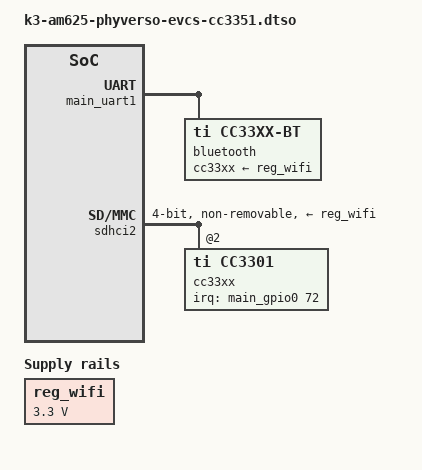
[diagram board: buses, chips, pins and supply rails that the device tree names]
// SPDX-License-Identifier: GPL-2.0-only OR MIT
/*
 * Copyright (C) 2026 PHYTEC Messtechnik GmbH
 * Author: Alexander Bauer <a.bauer@phytec.de>
 */

#include <dt-bindings/gpio/gpio.h>
#include <dt-bindings/interrupt-controller/irq.h>
#include "k3-pinctrl.h"

/dts-v1/;
/plugin/;

/ {
	aliases {
		serial3 = "/bus@f0000/serial@2810000";
	};

	reg_wifi: regulator-wifi {
		compatible = "regulator-fixed";
		regulator-name = "WIFI_EN";
		regulator-min-microvolt = <3300000>;
		regulator-max-microvolt = <3300000>;
		regulator-always-on;
		regulator-boot-on;
	};
};

&main_pmx0 {
	main_mmc2_wifi_pins_default: main-mmc2-wifi-default-pins {
		pinctrl-single,pins = <
			AM62X_IOPAD(0x0120, PIN_INPUT, 0) /* (C24) MMC2_CMD */
			AM62X_IOPAD(0x0118, PIN_OUTPUT, 0) /* (D25) MMC2_CLK */
			AM62X_IOPAD(0x011C, PIN_INPUT, 0) /* () MMC2_CLKLB */
			AM62X_IOPAD(0x0114, PIN_INPUT, 0) /* (B24) MMC2_DAT0 */
			AM62X_IOPAD(0x0110, PIN_INPUT_PULLUP, 0) /* (C25) MMC2_DAT1 */
			AM62X_IOPAD(0x010c, PIN_INPUT_PULLUP, 0) /* (E23) MMC2_DAT2 */
			AM62X_IOPAD(0x0108, PIN_INPUT_PULLUP, 0) /* (D24) MMC2_DAT3 */
		>;
	};

	main_uart1_pins_default: main-uart1-default-pins {
		pinctrl-single,pins = <
			AM62X_IOPAD(0x194, PIN_INPUT, 2) /* (B19) MCASP0_AXR3.UART1_CTSn */
			AM62X_IOPAD(0x198, PIN_OUTPUT, 2) /* (A19) MCASP0_AXR2.UART1_RTSn */
			AM62X_IOPAD(0x1ac, PIN_INPUT, 2) /* (E19) MCASP0_AFSR.UART1_RXD */
			AM62X_IOPAD(0x1b0, PIN_OUTPUT, 2) /* (A20) MCASP0_ACLKR.UART1_TXD */
		>;
	};

	wifi_wlirq_pins_default: wifi-wlirq-default-pins {
		pinctrl-single,pins = <
			AM62X_IOPAD(0x128, PIN_INPUT_PULLDOWN, 7) /* (B23) MMC2_SDWP.GPIO0_72 */
		>;
	};
};

&main_uart1 {
	pinctrl-names = "default";
	pinctrl-0 = <&main_uart1_pins_default>;
	status = "okay";

	bluetooth {
		compatible = "ti,cc33xx-bt";
		cc33xx-supply = <&reg_wifi>;
		max-speed = <115200>;
	};
};

&sdhci2 {
	vmmc-supply = <&reg_wifi>;
	pinctrl-names = "default";
	pinctrl-0 = <&main_mmc2_wifi_pins_default>;
	bus-width = <4>;
	cap-power-off-card;
	keep-power-in-suspend;
	non-removable;
	pm-ignore-notify;
	#address-cells = <1>;
	#size-cells = <0>;
	assigned-clocks = <&k3_clks 157 158>;
	assigned-clock-parents = <&k3_clks 157 160>;
	ti,fails-without-test-cd;
	ti,driver-strength-ohm = <50>;
	status = "okay";

	cc33xx: wifi@2 {
		compatible = "ti,cc3301";
		reg = <2>;
		pinctrl-names = "default";
		pinctrl-0 = <&wifi_wlirq_pins_default>;

		interrupt-parent = <&main_gpio0>;
		interrupts = <72 IRQ_TYPE_EDGE_RISING>;
		irq-gpio = <&main_gpio0 72 GPIO_ACTIVE_HIGH>;
	};
};
